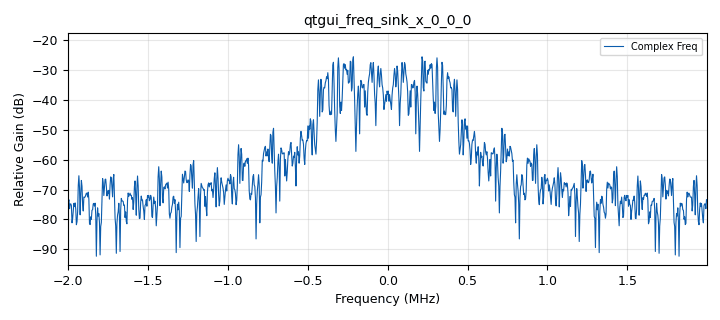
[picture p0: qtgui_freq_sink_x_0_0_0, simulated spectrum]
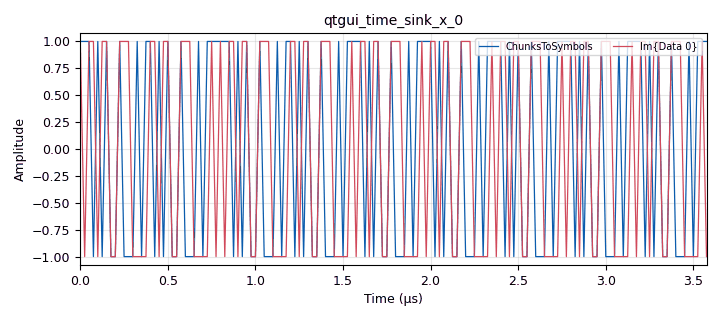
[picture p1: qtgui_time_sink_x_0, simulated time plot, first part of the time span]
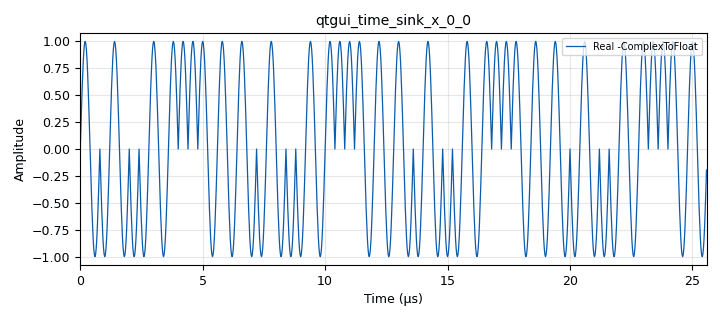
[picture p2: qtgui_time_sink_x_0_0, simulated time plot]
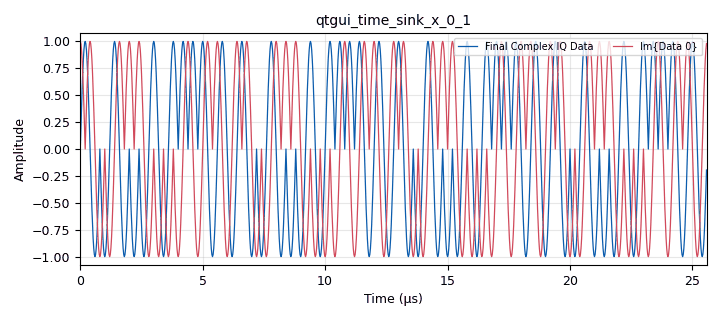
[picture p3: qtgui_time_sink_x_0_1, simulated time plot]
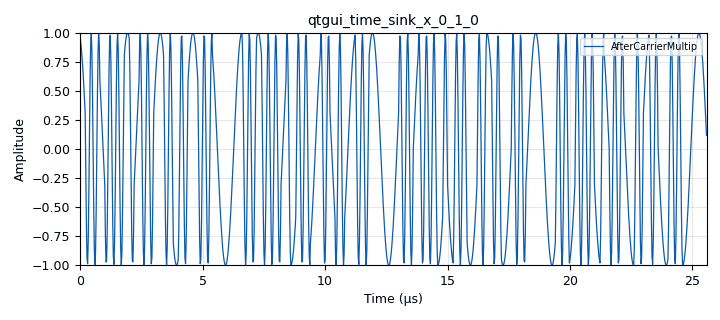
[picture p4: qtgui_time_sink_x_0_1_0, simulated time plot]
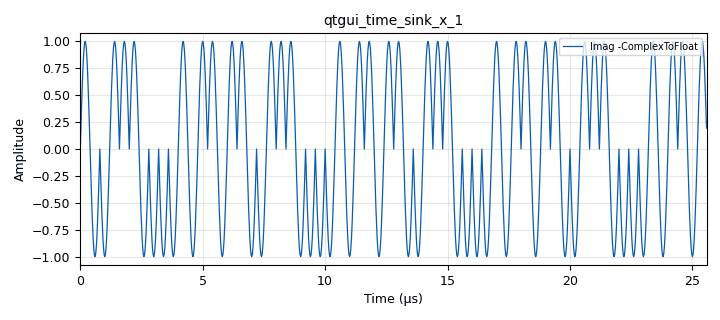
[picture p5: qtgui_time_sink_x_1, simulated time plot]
options:
  parameters:
    generate_options: qt_gui
    id: QTOQPSK
    output_language: python
    title: QTOQPSK
  states: {}

blocks:
- name: samp_rate
  id: variable
  parameters:
    value: '40000000'
  states: {}
- name: analog_sig_source_x_0
  id: analog_sig_source_x
  parameters:
    amp: '1'
    freq: '2000000'
    offset: '0'
    phase: '0'
    samp_rate: samp_rate
    type: complex
    waveform: analog.GR_SIN_WAVE
  states: {}
- name: blocks_complex_to_float_0
  id: blocks_complex_to_float
  parameters: {}
  states: {}
- name: blocks_complex_to_float_0_0
  id: blocks_complex_to_float
  parameters: {}
  states: {}
- name: blocks_delay_0
  id: blocks_delay
  parameters:
    delay: '8'
    type: float
  states: {}
- name: blocks_float_to_complex_0
  id: blocks_float_to_complex
  parameters: {}
  states: {}
- name: blocks_multiply_xx_0
  id: blocks_multiply_xx
  parameters:
    type: complex
  states: {}
- name: blocks_multiply_xx_0_0
  id: blocks_multiply_xx
  parameters:
    type: complex
  states: {}
- name: blocks_null_sink_0_0
  id: blocks_null_sink
  parameters:
    type: float
  states: {}
- name: blocks_packed_to_unpacked_xx_0
  id: blocks_packed_to_unpacked_xx
  parameters:
    bits_per_chunk: '4'
    endianness: gr.GR_LSB_FIRST
    type: byte
  states: {}
- name: blocks_repeat_0
  id: blocks_repeat
  parameters:
    interp: '16'
    type: complex
  states: {}
- name: blocks_vector_source_x_0
  id: blocks_vector_source_x
  parameters:
    comment: '[0., 0.19509032, 0.38268343, 0.55557023, 0.70710678, 0.83146961, 0.92387953, 0.98078528, 1.,         0.98078528, 0.92387953, 0.83146961, 0.70710678, 0.55557023, 0.38268343,0.19509032]'
    repeat: 'True'
    type: complex
    vector: '[0.,    0.19509032, 0.38268343, 0.55557023, 0.70710678,   0.83146961, 0.92387953, 0.98078528, 1.,  0.98078528, 0.92387953, 0.83146961, 0.70710678, 0.55557023, 0.38268343,   0.19509032]'
  states: {}
- name: blocks_vector_source_x_1
  id: blocks_vector_source_x
  parameters:
    repeat: 'True'
    type: byte
    vector: (1, 1, 1,1,0,0,0,0)
  states: {}
- name: digital_chunks_to_symbols_xx_0
  id: digital_chunks_to_symbols_xx
  parameters:
    dimension: '16'
    in_type: byte
    out_type: complex
    symbol_table: '[(1+1j), (-1+1j), (1-1j), (-1+1j), (1+1j), (-1-1j), (-1-1j), (1+1j), (-1+1j), (-1+1j), (-1-1j), (1-1j), (-1-1j), (1-1j), (1+1j), (1-1j), (1-1j), (-1-1j), (1+1j), (-1-1j), (1-1j), (-1+1j), (-1+1j), (1-1j), (-1-1j), (-1-1j), (-1+1j), (1+1j), (-1+1j), (1+1j), (1-1j), (1+1j), (-1+1j), (-1+1j), (-1-1j), (1-1j), (-1-1j), (1-1j), (1+1j), (1-1j), (1+1j), (-1+1j), (1-1j), (-1+1j), (1+1j), (-1-1j), (-1-1j), (1+1j), (-1-1j), (-1-1j), (-1+1j), (1+1j), (-1+1j), (1+1j), (1-1j), (1+1j), (1-1j), (-1-1j), (1+1j), (-1-1j), (1-1j), (-1+1j), (-1+1j), (1-1j), (-1-1j), (1-1j), (1+1j), (1-1j), (1+1j), (-1+1j), (1-1j), (-1+1j), (1+1j), (-1-1j), (-1-1j), (1+1j), (-1+1j), (-1+1j), (-1-1j), (1-1j), (-1+1j), (1+1j), (1-1j), (1+1j), (1-1j), (-1-1j), (1+1j), (-1-1j), (1-1j), (-1+1j), (-1+1j), (1-1j), (-1-1j), (-1-1j), (-1+1j), (1+1j), (1+1j), (-1-1j), (-1-1j), (1+1j), (-1+1j), (-1+1j), (-1-1j), (1-1j), (-1-1j), (1-1j), (1+1j), (1-1j), (1+1j), (-1+1j), (1-1j), (-1+1j), (1-1j), (-1+1j), (-1+1j), (1-1j), (-1-1j), (-1-1j), (-1+1j), (1+1j), (-1+1j), (1+1j), (1-1j), (1+1j), (1-1j), (-1-1j), (1+1j), (-1-1j), (1+1j), (1-1j), (1+1j), (-1+1j), (1-1j), (-1+1j), (1+1j), (-1-1j), (-1-1j), (1+1j), (-1+1j), (-1+1j), (-1-1j), (1-1j), (-1-1j), (1-1j), (1-1j), (1+1j), (1-1j), (-1-1j), (1+1j), (-1-1j), (1-1j), (-1+1j), (-1+1j), (1-1j), (-1-1j), (-1-1j), (-1+1j), (1+1j), (-1+1j), (1+1j), (-1-1j), (1+1j), (-1+1j), (-1+1j), (-1-1j), (1-1j), (-1-1j), (1-1j), (1+1j), (1-1j), (1+1j), (-1+1j), (1-1j), (-1+1j), (1+1j), (-1-1j), (-1+1j), (1-1j), (-1-1j), (-1-1j), (-1+1j), (1+1j), (-1+1j), (1+1j), (1-1j), (1+1j), (1-1j), (-1-1j), (1+1j), (-1-1j), (1-1j), (-1+1j), (-1-1j), (1-1j), (-1-1j), (1-1j), (1+1j), (1-1j), (1+1j), (-1+1j), (1-1j), (-1+1j), (1+1j), (-1-1j), (-1-1j), (1+1j), (-1+1j), (-1+1j), (-1+1j), (1+1j), (-1+1j), (1+1j), (1-1j), (1+1j), (1-1j), (-1-1j), (1+1j), (-1-1j), (1-1j), (-1+1j), (-1+1j), (1-1j), (-1-1j), (-1-1j), (1-1j), (-1+1j), (1+1j), (-1-1j), (-1-1j), (1+1j), (-1+1j), (-1+1j), (-1-1j), (1-1j), (-1-1j), (1-1j), (1+1j), (1-1j), (1+1j), (-1+1j), (1+1j), (-1-1j), (1-1j), (-1+1j), (-1+1j), (1-1j), (-1-1j), (-1-1j), (-1+1j), (1+1j), (-1+1j), (1+1j), (1-1j), (1+1j), (1-1j), (-1-1j)]'
  states: {}
- name: note_0
  id: note
  parameters:
    note: Final Complex IQ data
  states: {}
- name: qtgui_freq_sink_x_0_0_0
  id: qtgui_freq_sink_x
  parameters:
    autoscale: 'True'
    average: '0.1'
    bw: 2000000*2
    fc: '0'
    fftsize: '1024'
    label1: Complex Freq
    type: float
    wintype: firdes.WIN_BLACKMAN_hARRIS
  states: {}
- name: qtgui_time_sink_x_0
  id: qtgui_time_sink_x
  parameters:
    label1: ChunksToSymbols
    size: '1024'
    srate: samp_rate
    type: complex
  states: {}
- name: qtgui_time_sink_x_0_0
  id: qtgui_time_sink_x
  parameters:
    label1: Real -ComplexToFloat
    size: '1024'
    srate: samp_rate
    type: float
  states: {}
- name: qtgui_time_sink_x_0_1
  id: qtgui_time_sink_x
  parameters:
    ctrlpanel: 'True'
    label1: Final Complex IQ Data
    size: '1024'
    srate: samp_rate
    type: complex
  states: {}
- name: qtgui_time_sink_x_0_1_0
  id: qtgui_time_sink_x
  parameters:
    ctrlpanel: 'True'
    label1: AfterCarrierMultip
    size: '1024'
    srate: samp_rate
    type: float
  states: {}
- name: qtgui_time_sink_x_1
  id: qtgui_time_sink_x
  parameters:
    label1: Imag -ComplexToFloat
    size: '1024'
    srate: samp_rate
    type: float
  states: {}

connections:
- [analog_sig_source_x_0, '0', blocks_multiply_xx_0, '1']
- [blocks_complex_to_float_0, '0', blocks_float_to_complex_0, '0']
- [blocks_complex_to_float_0, '0', qtgui_time_sink_x_0_0, '0']
- [blocks_complex_to_float_0, '1', blocks_delay_0, '0']
- [blocks_complex_to_float_0, '1', qtgui_time_sink_x_1, '0']
- [blocks_complex_to_float_0_0, '0', qtgui_time_sink_x_0_1_0, '0']
- [blocks_complex_to_float_0_0, '1', blocks_null_sink_0_0, '0']
- [blocks_complex_to_float_0_0, '1', qtgui_freq_sink_x_0_0_0, '0']
- [blocks_delay_0, '0', blocks_float_to_complex_0, '1']
- [blocks_float_to_complex_0, '0', blocks_multiply_xx_0, '0']
- [blocks_float_to_complex_0, '0', qtgui_time_sink_x_0_1, '0']
- [blocks_multiply_xx_0, '0', blocks_complex_to_float_0_0, '0']
- [blocks_multiply_xx_0_0, '0', blocks_complex_to_float_0, '0']
- [blocks_packed_to_unpacked_xx_0, '0', digital_chunks_to_symbols_xx_0, '0']
- [blocks_repeat_0, '0', blocks_multiply_xx_0_0, '0']
- [blocks_vector_source_x_0, '0', blocks_multiply_xx_0_0, '1']
- [blocks_vector_source_x_1, '0', blocks_packed_to_unpacked_xx_0, '0']
- [digital_chunks_to_symbols_xx_0, '0', blocks_repeat_0, '0']
- [digital_chunks_to_symbols_xx_0, '0', qtgui_time_sink_x_0, '0']

metadata:
  file_format: 1
